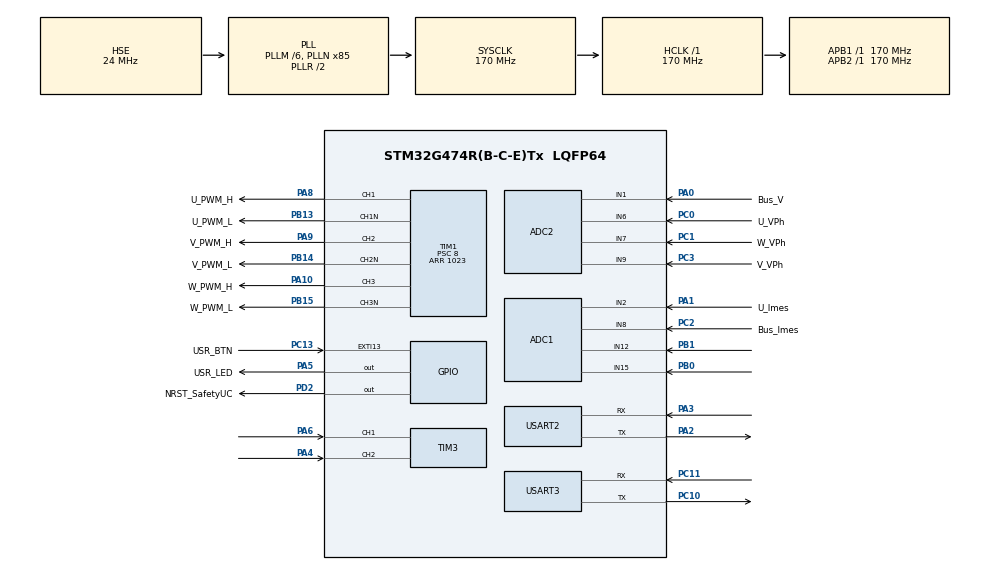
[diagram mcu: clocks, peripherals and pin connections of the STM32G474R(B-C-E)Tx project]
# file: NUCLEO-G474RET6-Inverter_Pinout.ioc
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ADC1.Channel-0\#ChannelRegularConversion=ADC_CHANNEL_2
ADC1.ClockPrescaler=ADC_CLOCK_ASYNC_DIV4
ADC1.ContinuousConvMode=DISABLE
ADC1.DMAContinuousRequests=ENABLE
ADC1.ExternalTrigConv=ADC_EXTERNALTRIG_T1_TRGO
ADC1.NbrOfConversionFlag=1
ADC1.OffsetNumber-0\#ChannelRegularConversion=ADC_OFFSET_NONE
ADC1.Rank-0\#ChannelRegularConversion=1
ADC1.SamplingTime-0\#ChannelRegularConversion=ADC_SAMPLETIME_640CYCLES_5
ADC1.master=1
ADC2.Channel-0\#ChannelRegularConversion=ADC_CHANNEL_6
ADC2.ClockPrescaler=ADC_CLOCK_ASYNC_DIV4
ADC2.NbrOfConversionFlag=1
ADC2.OffsetNumber-0\#ChannelRegularConversion=ADC_OFFSET_NONE
ADC2.Rank-0\#ChannelRegularConversion=1
ADC2.SamplingTime-0\#ChannelRegularConversion=ADC_SAMPLETIME_2CYCLES_5
Dma.ADC1.0.Direction=DMA_PERIPH_TO_MEMORY
Dma.ADC1.0.EventEnable=DISABLE
Dma.ADC1.0.Instance=DMA1_Channel1
Dma.ADC1.0.MemDataAlignment=DMA_MDATAALIGN_HALFWORD
Dma.ADC1.0.MemInc=DMA_MINC_ENABLE
Dma.ADC1.0.Mode=DMA_CIRCULAR
Dma.ADC1.0.PeriphDataAlignment=DMA_PDATAALIGN_HALFWORD
Dma.ADC1.0.PeriphInc=DMA_PINC_DISABLE
Dma.ADC1.0.Polarity=HAL_DMAMUX_REQ_GEN_RISING
Dma.ADC1.0.Priority=DMA_PRIORITY_LOW
Dma.ADC1.0.RequestNumber=1
Dma.ADC1.0.SignalID=NONE
Dma.ADC1.0.SyncEnable=DISABLE
Dma.ADC1.0.SyncPolarity=HAL_DMAMUX_SYNC_NO_EVENT
Dma.ADC1.0.SyncRequestNumber=1
Dma.ADC1.0.SyncSignalID=NONE
Dma.Request0=ADC1
Mcu.Family=STM32G4
Mcu.Name=STM32G474R(B-C-E)Tx
Mcu.Package=LQFP64
NVIC.ADC1_2_IRQn=true\:0\:0\:false\:false\:true\:true\:true\:true
NVIC.DMA1_Channel1_IRQn=true\:0\:0\:false\:false\:true\:false\:true\:true
NVIC.EXTI15_10_IRQn=true\:0\:0\:false\:false\:true\:true\:true\:true
NVIC.PriorityGroup=NVIC_PRIORITYGROUP_4
NVIC.TIM1_UP_TIM16_IRQn=true\:0\:0\:false\:false\:true\:true\:true\:true
NVIC.TIM3_IRQn=true\:0\:0\:false\:false\:true\:true\:true\:true
NVIC.TIM6_DAC_IRQn=true\:15\:0\:false\:false\:true\:false\:true\:true
NVIC.TimeBase=TIM6_DAC_IRQn
NVIC.TimeBaseIP=TIM6
NVIC.USART2_IRQn=true\:0\:0\:false\:false\:true\:true\:true\:true
NVIC.USART3_IRQn=true\:0\:0\:false\:false\:true\:true\:true\:true
PA0.GPIO_Label=Bus_V
PA0.Mode=IN1-Single-Ended
PA0.Signal=ADC2_IN1
PA1.GPIO_Label=U_Imes
PA1.Mode=IN2-Single-Ended
PA1.Signal=ADC1_IN2
PA10.GPIO_Label=W_PWM_H
PA10.Signal=S_TIM1_CH3
PA13.GPIO_Label=T_SWDIO
PA13.Mode=Trace_Asynchronous_SW
PA13.Signal=SYS_JTMS-SWDIO
PA14.GPIO_Label=T_SWCLK
PA14.Mode=Trace_Asynchronous_SW
PA14.Signal=SYS_JTCK-SWCLK
PA2.Mode=Asynchronous
PA2.Signal=USART2_TX
PA3.Mode=Asynchronous
PA3.Signal=USART2_RX
PA4.Signal=S_TIM3_CH2
PA5.GPIO_Label=USR_LED
PA5.Signal=GPIO_Output
PA6.Signal=S_TIM3_CH1
PA8.GPIO_Label=U_PWM_H
PA8.Signal=S_TIM1_CH1
PA9.GPIO_Label=V_PWM_H
PA9.Signal=S_TIM1_CH2
PB0.Mode=IN15-Single-Ended
PB0.Signal=ADC1_IN15
PB1.Mode=IN12-Single-Ended
PB1.Signal=ADC1_IN12
PB13.GPIO_Label=U_PWM_L
PB13.Mode=PWM Generation1 CH1 CH1N
PB13.Signal=TIM1_CH1N
PB14.GPIO_Label=V_PWM_L
PB14.Mode=PWM Generation2 CH2 CH2N
PB14.Signal=TIM1_CH2N
PB15.GPIO_Label=W_PWM_L
PB15.Mode=PWM Generation3 CH3 CH3N
PB15.Signal=TIM1_CH3N
PB3.GPIO_Label=T_SWO
PB3.Mode=Trace_Asynchronous_SW
PB3.Signal=SYS_JTDO-SWO
PC0.GPIO_Label=U_VPh
PC0.Mode=IN6-Single-Ended
PC0.Signal=ADC2_IN6
PC1.GPIO_Label=W_VPh
PC1.Mode=IN7-Single-Ended
PC1.Signal=ADC2_IN7
PC10.Mode=Asynchronous
PC10.Signal=USART3_TX
PC11.Mode=Asynchronous
PC11.Signal=USART3_RX
PC13.GPIO_Label=USR_BTN
PC13.Signal=GPXTI13
PC14-OSC32_IN.Mode=LSE-External-Oscillator
PC14-OSC32_IN.Signal=RCC_OSC32_IN
PC15-OSC32_OUT.Mode=LSE-External-Oscillator
PC15-OSC32_OUT.Signal=RCC_OSC32_OUT
PC2.GPIO_Label=Bus_Imes
PC2.Mode=IN8-Single-Ended
PC2.Signal=ADC1_IN8
PC3.GPIO_Label=V_VPh
PC3.Mode=IN9-Single-Ended
PC3.Signal=ADC2_IN9
PC8.Signal=S_TIM3_CH3
PD2.GPIO_Label=NRST_SafetyUC
PD2.Signal=GPIO_Output
PF0-OSC_IN.Mode=HSE-External-Oscillator
PF0-OSC_IN.Signal=RCC_OSC_IN
PF1-OSC_OUT.Mode=HSE-External-Oscillator
PF1-OSC_OUT.Signal=RCC_OSC_OUT
ProjectManager.HeapSize=0x200
ProjectManager.StackSize=0x400
ProjectManager.TargetToolchain=STM32CubeIDE
RCC.ADC12Freq_Value=170000000
RCC.ADC345Freq_Value=170000000
RCC.AHBFreq_Value=170000000
RCC.APB1Freq_Value=170000000
RCC.APB1TimFreq_Value=170000000
RCC.APB2Freq_Value=170000000
RCC.APB2TimFreq_Value=170000000
RCC.CortexFreq_Value=170000000
RCC.EXTERNAL_CLOCK_VALUE=12288000
RCC.HCLKFreq_Value=170000000
RCC.HSE_VALUE=24000000
RCC.HSI48_VALUE=48000000
RCC.HSI_VALUE=16000000
RCC.PLLM=RCC_PLLM_DIV6
RCC.PLLN=85
RCC.PLLSourceVirtual=RCC_PLLSOURCE_HSE
RCC.RTCClockSelection=RCC_RTCCLKSOURCE_LSE
RCC.SYSCLKFreq_VALUE=170000000
RCC.SYSCLKSource=RCC_SYSCLKSOURCE_PLLCLK
RCC.USBFreq_Value=170000000
RCC.VCOOutputFreq_Value=340000000
SH.S_TIM1_CH1.0=TIM1_CH1,PWM Generation1 CH1 CH1N
SH.S_TIM1_CH2.0=TIM1_CH2,PWM Generation2 CH2 CH2N
SH.S_TIM1_CH3.0=TIM1_CH3,PWM Generation3 CH3 CH3N
SH.S_TIM3_CH1.0=TIM3_CH1,Encoder_Interface
SH.S_TIM3_CH2.0=TIM3_CH2,Encoder_Interface
SH.S_TIM3_CH3.0=TIM3_CH3
TIM1.Channel-PWM\ Generation1\ CH1\ CH1N=TIM_CHANNEL_1
TIM1.Channel-PWM\ Generation2\ CH2\ CH2N=TIM_CHANNEL_2
TIM1.Channel-PWM\ Generation3\ CH3\ CH3N=TIM_CHANNEL_3
TIM1.CounterMode=TIM_COUNTERMODE_CENTERALIGNED1
TIM1.DeadTime=30
TIM1.DeadTimePreload=ENABLE
TIM1.OCNIdleState_1=TIM_OCNIDLESTATE_RESET
TIM1.OCNPolarity_1=TIM_OCNPOLARITY_HIGH
TIM1.PeriodNoDither=1023
TIM1.Prescaler=8
TIM1.PulseNoDither_1=512
TIM1.PulseNoDither_2=512
TIM1.PulseNoDither_3=85
TIM1.TIM_MasterOutputTrigger=TIM_TRGO_UPDATE
TIM1.TIM_MasterOutputTrigger2=TIM_TRGO2_UPDATE
TIM1.TIM_MasterSlaveMode=TIM_MASTERSLAVEMODE_ENABLE
TIM16.PeriodNoDither=9999
TIM16.Prescaler=1699
TIM3.EncoderMode=TIM_ENCODERMODE_TI12
USART2.VirtualMode-Asynchronous=VM_ASYNC
USART3.VirtualMode-Asynchronous=VM_ASYNC
VP_SYS_VS_DBSignals.Mode=DisableDeadBatterySignals
VP_SYS_VS_tim6.Mode=TIM6
VP_TIM16_VS_ClockSourceINT.Mode=Enable_Timer
VP_TIM1_VS_ClockSourceINT.Mode=Internal
board=NUCLEO-G474RE

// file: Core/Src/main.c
/* USER CODE BEGIN Header */
/**
 ******************************************************************************
 * @file           : main.c
 * @brief          : Main program body
 ******************************************************************************
 * @attention
 *
 * Copyright (c) 2023 STMicroelectronics.
 * All rights reserved.
 *
 * This software is licensed under terms that can be found in the LICENSE file
 * in the root directory of this software component.
 * If no LICENSE file comes with this software, it is provided AS-IS.
 *
 ******************************************************************************
 */
/* USER CODE END Header */
#include "main.h"
#include "adc.h"
#include "dma.h"
#include "tim.h"
#include "usart.h"
#include "gpio.h"

/* USER CODE BEGIN Includes */
#include <stdio.h>
#include "mylibs/shell.h"
#include "mylibs/pwm.h"
#include "mylibs/codeur.h"
#include "mylibs/PID.h"

/* USER CODE END Includes */

/* USER CODE BEGIN PV */

//Variables ADC
uint32_t buffer[ADC_BUF_SIZE]; //buffer de l'ADC
uint8_t flag=0;				   //flag de l'ADC en DMA
float Imes[3]={0};		       //valeurs de courant pour les 3 derniers instants

//Variables asservissement en courant
extern float Iconsigne[3];
extern float erreur_I[3];
extern float alpha[3];
h_PID_t *  h_PI_I;

//Variables asservissementr en vitesse
extern int consigne;
extern float erreur[3];
extern float vitesse[3];
h_PID_t	*  h_PI;

extern uint8_t uartTxBuffer[UART_TX_BUFFER_SIZE];

/* USER CODE END PV */

void SystemClock_Config(void);

int main(void)
{
	/* USER CODE BEGIN 1 */
	int nb_loop = 0;
	/* USER CODE END 1 */

	/* MCU Configuration--------------------------------------------------------*/

	/* Reset of all peripherals, Initializes the Flash interface and the Systick. */
	HAL_Init();

	/* Configure the system clock */
	SystemClock_Config();

	/* Initialize all configured peripherals */
	MX_GPIO_Init();
	MX_DMA_Init();
	MX_ADC2_Init();
	MX_ADC1_Init();
	MX_TIM1_Init();
	MX_TIM3_Init();
	MX_USART2_UART_Init();
	MX_USART3_UART_Init();
	MX_TIM16_Init();

	/* USER CODE BEGIN 2 */

	//On start le DMA
	if(HAL_OK != HAL_ADC_Start_DMA(&hadc1, buffer, ADC_BUF_SIZE)){
		Error_Handler();
	}

	//On start le codeur et le timer de vitesse
	codeur_start();

	//PI Speed
	h_PI->b0=0.48;
	h_PI->b1=0.247;
	h_PI->b2=-0.23;

	//PI Current
	h_PI_I->b0=0.9325;
	h_PI_I->b1=0.0001235;
	h_PI_I->b2=-0.73;

	//Démarrage des timers pour les PWM
	pwm_start();

	//Lancement du Shell
	Shell_Init();

	/* USER CODE END 2 */

	/* Infinite loop */
	/* USER CODE BEGIN WHILE */
	while (1)
	{
		Shell_Loop();

		if(flag){
			nb_loop = (nb_loop + 1)%20000;
			if(nb_loop == 0){
				int uartTxStringLength = snprintf((char *)uartTxBuffer, UART_TX_BUFFER_SIZE, "Valeur : %4d \r\n", Imes);
				HAL_UART_Transmit(&huart2, uartTxBuffer, uartTxStringLength, HAL_MAX_DELAY);
			}
			flag = 0;
		}

		//		HAL_ADC_Start(&hadc1);
		//		HAL_ADC_PollForConversion(&hadc1, HAL_MAX_DELAY);
		//		int value = HAL_ADC_GetValue(&hadc1);
		//		int uartTxStringLength = snprintf((char *)uartTxBuffer, UART_TX_BUFFER_SIZE, "Valeur : %4d \r\n", value);
		//		HAL_UART_Transmit(&huart2, uartTxBuffer, uartTxStringLength, HAL_MAX_DELAY);

		//		HAL_Delay(1000);

		/* USER CODE END WHILE */

	}
}

void SystemClock_Config(void)
{
	RCC_OscInitTypeDef RCC_OscInitStruct = {0};
	RCC_ClkInitTypeDef RCC_ClkInitStruct = {0};

	/** Configure the main internal regulator output voltage
	 */
	HAL_PWREx_ControlVoltageScaling(PWR_REGULATOR_VOLTAGE_SCALE1_BOOST);

	/** Initializes the RCC Oscillators according to the specified parameters
	 * in the RCC_OscInitTypeDef structure.
	 */
	RCC_OscInitStruct.OscillatorType = RCC_OSCILLATORTYPE_HSE;
	RCC_OscInitStruct.HSEState = RCC_HSE_ON;
	RCC_OscInitStruct.PLL.PLLState = RCC_PLL_ON;
	RCC_OscInitStruct.PLL.PLLSource = RCC_PLLSOURCE_HSE;
	RCC_OscInitStruct.PLL.PLLM = RCC_PLLM_DIV6;
	RCC_OscInitStruct.PLL.PLLN = 85;
	RCC_OscInitStruct.PLL.PLLP = RCC_PLLP_DIV2;
	RCC_OscInitStruct.PLL.PLLQ = RCC_PLLQ_DIV2;
	RCC_OscInitStruct.PLL.PLLR = RCC_PLLR_DIV2;
	if (HAL_RCC_OscConfig(&RCC_OscInitStruct) != HAL_OK)
	{
		Error_Handler();
	}

	/** Initializes the CPU, AHB and APB buses clocks
	 */
	RCC_ClkInitStruct.ClockType = RCC_CLOCKTYPE_HCLK|RCC_CLOCKTYPE_SYSCLK
			|RCC_CLOCKTYPE_PCLK1|RCC_CLOCKTYPE_PCLK2;
	RCC_ClkInitStruct.SYSCLKSource = RCC_SYSCLKSOURCE_PLLCLK;
	RCC_ClkInitStruct.AHBCLKDivider = RCC_SYSCLK_DIV1;
	RCC_ClkInitStruct.APB1CLKDivider = RCC_HCLK_DIV1;
	RCC_ClkInitStruct.APB2CLKDivider = RCC_HCLK_DIV1;

	if (HAL_RCC_ClockConfig(&RCC_ClkInitStruct, FLASH_LATENCY_4) != HAL_OK)
	{
		Error_Handler();
	}
}

/* USER CODE BEGIN 4 */

/*
 * @brief
 * Ce Callback est appelé à chaque nouvelle mesure de courant
 * Il est déclenché par le timer 1 donc à une fréquence d'environ 20kHz
 * Ici on réalise l'asservissement en courant
 */
void HAL_ADC_ConvCpltCallback(ADC_HandleTypeDef *hadc)
{
	//	if(HAL_ADC_Stop_DMA(&hadc1)!= HAL_OK){
	//		Error_Handler();
	//		flag=1;
	//	}
	//Interupt Mode
	//	adc_vall = HAL_ADC_GetValue(&hadc1);
	//	HAL_ADC_Start_IT(&hadc1);

	Imes[0]=Imes[1];
	Imes[1]=Imes[2];
	Imes[2]= (buffer[0]-1351)/40.95; //Nouvelle valeur de courant

	//Calcul de l'erreur en courant
	Erreur_I(Iconsigne,Imes);

	//Calcul de la nouvelle valeur de alpha après le PI
	Current_PI(h_PI_I,erreur_I,alpha);

	//Application des nouvelles commandes PWM
	NewPWM(alpha);

	flag = 1;
}
/* USER CODE END 4 */

void HAL_TIM_PeriodElapsedCallback(TIM_HandleTypeDef *htim)
{
	/* USER CODE BEGIN Callback 0 */
	/*@brief
	 * Callback appelé toutes les 100ms lors de la mesure de la vitesse
	 * Ici on réalise l'asservissement en vitesse
	 */
	if (htim->Instance == TIM16){
		//Calcul de la vitesse de rotation du moteur
		calc_speed();

		//Calcul de l'erreur en vitesse
		Erreur(consigne, erreur, vitesse);

		//Calcul de la nouvelle consigne en courant grâce au PI
		Speed_PI(h_PI,erreur,Iconsigne);
	}

	/* USER CODE END Callback 0 */
	if (htim->Instance == TIM6) {
		HAL_IncTick();
	}
}

void Error_Handler(void)
{
	__disable_irq();
	while (1)
	{
	}
}
